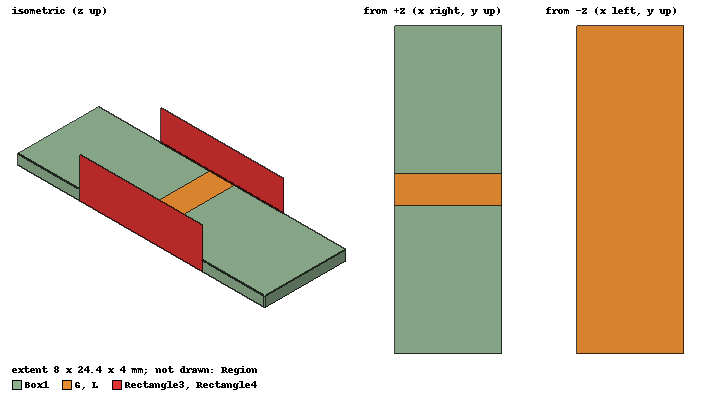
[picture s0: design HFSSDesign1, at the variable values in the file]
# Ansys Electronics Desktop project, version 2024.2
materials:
  vacuum: permittivity=1
  Rogers RO3003 (tm): permittivity=3 dielectric_loss_tangent=0.0013

design HFSSDesign1 (HFSS, HFSS Terminal Network, model units mm)
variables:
  W = 2.44mm
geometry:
  Box1 [Rogers RO3003 (tm)] = box(corner=(0mm, -12.2mm, 0mm), size=(-8mm, 10*W, 1mm))
  G = rectangle(corner=(0mm, -12.2mm, 0mm), x_size=-8mm, y_size=24.4mm)
  L = rectangle(corner=(0mm, -W/2, 1mm), x_size=-8mm, y_size=W)
  Rectangle3 = rectangle(corner=(0mm, -2.5*W, 0mm), y_size=5*W, z_size=4mm)
  Rectangle4 = rectangle(corner=(-8mm, -2.5*W, 0mm), y_size=5*W, z_size=4mm)
  Region [vacuum] = region(absolute_offset: +X=0mm, -X=0mm, +Y=5mm, -Y=5mm, +Z=5mm, -Z=5mm)
  coordinate_system RelativeCS1 = origin=(-4mm, 0mm, 0mm) x=(1mm, 0mm, 0mm) y=(0mm, 1mm, 0mm)
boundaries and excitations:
  G: Perfect E Objects=G
  L: Perfect E Objects=L
  1: Wave Port Objects=Rectangle3 WavePortType=Modal NumModes=1 Modes{Mode1{CharImp=Zpi}}
  2: Wave Port Objects=Rectangle4 WavePortType=Modal NumModes=1 Modes{Mode1{CharImp=Zpi}}
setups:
  Setup1: HfssDriven Frequency=12GHz MaxDeltaS=0.02 MaximumPasses=6 MinimumPasses=1 MinimumConvergedPasses=1 PercentRefinement=30 BasisOrder=1 PortAccuracy=2 DrivenSolverType="Direct Solver"
    sweep Sweep: 8.2GHz to 12.4GHz step 0.03GHz; Type=Fast SaveFields
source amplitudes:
  1:1: 1V 0deg
  2:1: 0V 0deg
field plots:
  Vector_E1: E Field over a plane on Setup1 : LastAdaptive at Freq=12GHz Phase=0deg
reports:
  Terminal Port Zo Plot 1: re(Zot(1,1)), re(Zot(2,1)), re(Zot(1,2)), re(Zot(2,2)) vs Freq on Setup1 : Sweep
  Terminal VSWR Plot 1: VSWRt(1) vs Freq on Setup1 : Sweep
